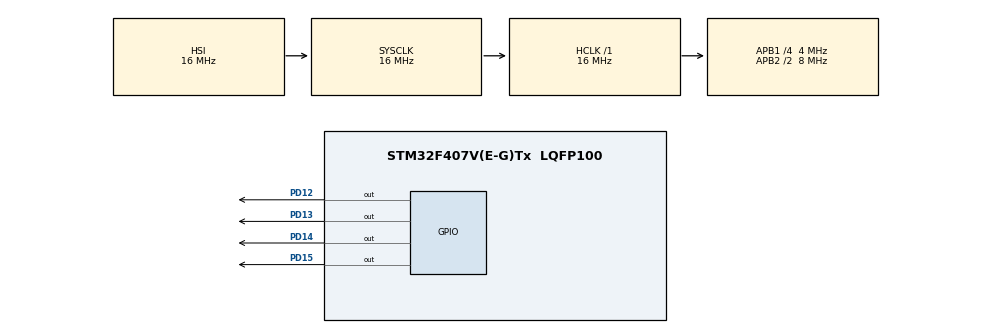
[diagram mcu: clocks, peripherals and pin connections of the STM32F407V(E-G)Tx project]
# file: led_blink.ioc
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Mcu.Family=STM32F4
Mcu.Name=STM32F407V(E-G)Tx
Mcu.Package=LQFP100
NVIC.PriorityGroup=NVIC_PRIORITYGROUP_0
PD12.Signal=GPIO_Output
PD13.Signal=GPIO_Output
PD14.Signal=GPIO_Output
PD15.Signal=GPIO_Output
ProjectManager.HeapSize=0x200
ProjectManager.StackSize=0x400
ProjectManager.TargetToolchain=STM32CubeIDE
RCC.48MHZClocksFreq_Value=96000000
RCC.AHBFreq_Value=16000000
RCC.APB1CLKDivider=RCC_HCLK_DIV4
RCC.APB1Freq_Value=4000000
RCC.APB1TimFreq_Value=8000000
RCC.APB2CLKDivider=RCC_HCLK_DIV2
RCC.APB2Freq_Value=8000000
RCC.APB2TimFreq_Value=16000000
RCC.CortexFreq_Value=16000000
RCC.HCLKFreq_Value=16000000
RCC.HSE_VALUE=8000000
RCC.HSI_VALUE=16000000
RCC.PLLM=8
RCC.PLLN=336
RCC.PLLQ=7
RCC.SYSCLKFreq_VALUE=16000000
RCC.VCOOutputFreq_Value=672000000
board=STM32F407G-DISC1

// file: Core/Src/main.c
/* USER CODE BEGIN Header */
/**
  ******************************************************************************
  * @file           : main.c
  * @brief          : Main program body
  ******************************************************************************
  * @attention
  *
  * Copyright (c) 2026 STMicroelectronics.
  * All rights reserved.
  *
  * This software is licensed under terms that can be found in the LICENSE file
  * in the root directory of this software component.
  * If no LICENSE file comes with this software, it is provided AS-IS.
  *
  ******************************************************************************
  */
/* USER CODE END Header */
#include "main.h"

void SystemClock_Config(void);
static void MX_GPIO_Init(void);

int main(void)
{

  /* MCU Configuration--------------------------------------------------------*/

  /* Reset of all peripherals, Initializes the Flash interface and the Systick. */
  HAL_Init();

  /* Configure the system clock */
  SystemClock_Config();

  /* Initialize all configured peripherals */
  MX_GPIO_Init();

  /* Infinite loop */
  while (1)
  {

    /* USER CODE BEGIN 3 */
	  HAL_GPIO_WritePin(GPIOD, GPIO_PIN_12, 1);
	  HAL_Delay(100);
	  HAL_GPIO_WritePin(GPIOD, GPIO_PIN_14, 1);
	 	  HAL_Delay(50);
	  HAL_GPIO_WritePin(GPIOD, GPIO_PIN_13, 1);
	  HAL_Delay(100);

	  HAL_GPIO_WritePin(GPIOD, GPIO_PIN_15, 1);
	  HAL_Delay(50);
	  //reset code
	  HAL_GPIO_WritePin(GPIOD, GPIO_PIN_12, 0);
	  HAL_Delay(100);
	  HAL_GPIO_WritePin(GPIOD, GPIO_PIN_13, 0);
	  HAL_Delay(100);
	  HAL_GPIO_WritePin(GPIOD, GPIO_PIN_14, 0);

	  HAL_Delay(50);
	  HAL_GPIO_WritePin(GPIOD, GPIO_PIN_15, 0);
	  HAL_Delay(50);

  }
  /* USER CODE END 3 */
}

void SystemClock_Config(void)
{
  RCC_OscInitTypeDef RCC_OscInitStruct = {0};
  RCC_ClkInitTypeDef RCC_ClkInitStruct = {0};

  /** Configure the main internal regulator output voltage
  */
  __HAL_RCC_PWR_CLK_ENABLE();
  __HAL_PWR_VOLTAGESCALING_CONFIG(PWR_REGULATOR_VOLTAGE_SCALE1);

  /** Initializes the RCC Oscillators according to the specified parameters
  * in the RCC_OscInitTypeDef structure.
  */
  RCC_OscInitStruct.OscillatorType = RCC_OSCILLATORTYPE_HSI;
  RCC_OscInitStruct.HSIState = RCC_HSI_ON;
  RCC_OscInitStruct.HSICalibrationValue = RCC_HSICALIBRATION_DEFAULT;
  RCC_OscInitStruct.PLL.PLLState = RCC_PLL_NONE;
  if (HAL_RCC_OscConfig(&RCC_OscInitStruct) != HAL_OK)
  {
    Error_Handler();
  }

  /** Initializes the CPU, AHB and APB buses clocks
  */
  RCC_ClkInitStruct.ClockType = RCC_CLOCKTYPE_HCLK|RCC_CLOCKTYPE_SYSCLK
                              |RCC_CLOCKTYPE_PCLK1|RCC_CLOCKTYPE_PCLK2;
  RCC_ClkInitStruct.SYSCLKSource = RCC_SYSCLKSOURCE_HSI;
  RCC_ClkInitStruct.AHBCLKDivider = RCC_SYSCLK_DIV1;
  RCC_ClkInitStruct.APB1CLKDivider = RCC_HCLK_DIV4;
  RCC_ClkInitStruct.APB2CLKDivider = RCC_HCLK_DIV2;

  if (HAL_RCC_ClockConfig(&RCC_ClkInitStruct, FLASH_LATENCY_0) != HAL_OK)
  {
    Error_Handler();
  }
}

static void MX_GPIO_Init(void)
{
  GPIO_InitTypeDef GPIO_InitStruct = {0};

  /* GPIO Ports Clock Enable */
  __HAL_RCC_GPIOD_CLK_ENABLE();

  /*Configure GPIO pin Output Level */
  HAL_GPIO_WritePin(GPIOD, GPIO_PIN_12|GPIO_PIN_13|GPIO_PIN_14|GPIO_PIN_15, GPIO_PIN_RESET);

  /*Configure GPIO pins : PD12 PD13 PD14 PD15 */
  GPIO_InitStruct.Pin = GPIO_PIN_12|GPIO_PIN_13|GPIO_PIN_14|GPIO_PIN_15;
  GPIO_InitStruct.Mode = GPIO_MODE_OUTPUT_PP;
  GPIO_InitStruct.Pull = GPIO_NOPULL;
  GPIO_InitStruct.Speed = GPIO_SPEED_FREQ_LOW;
  HAL_GPIO_Init(GPIOD, &GPIO_InitStruct);

}

void Error_Handler(void)
{
  __disable_irq();
  while (1)
  {
  }
}
